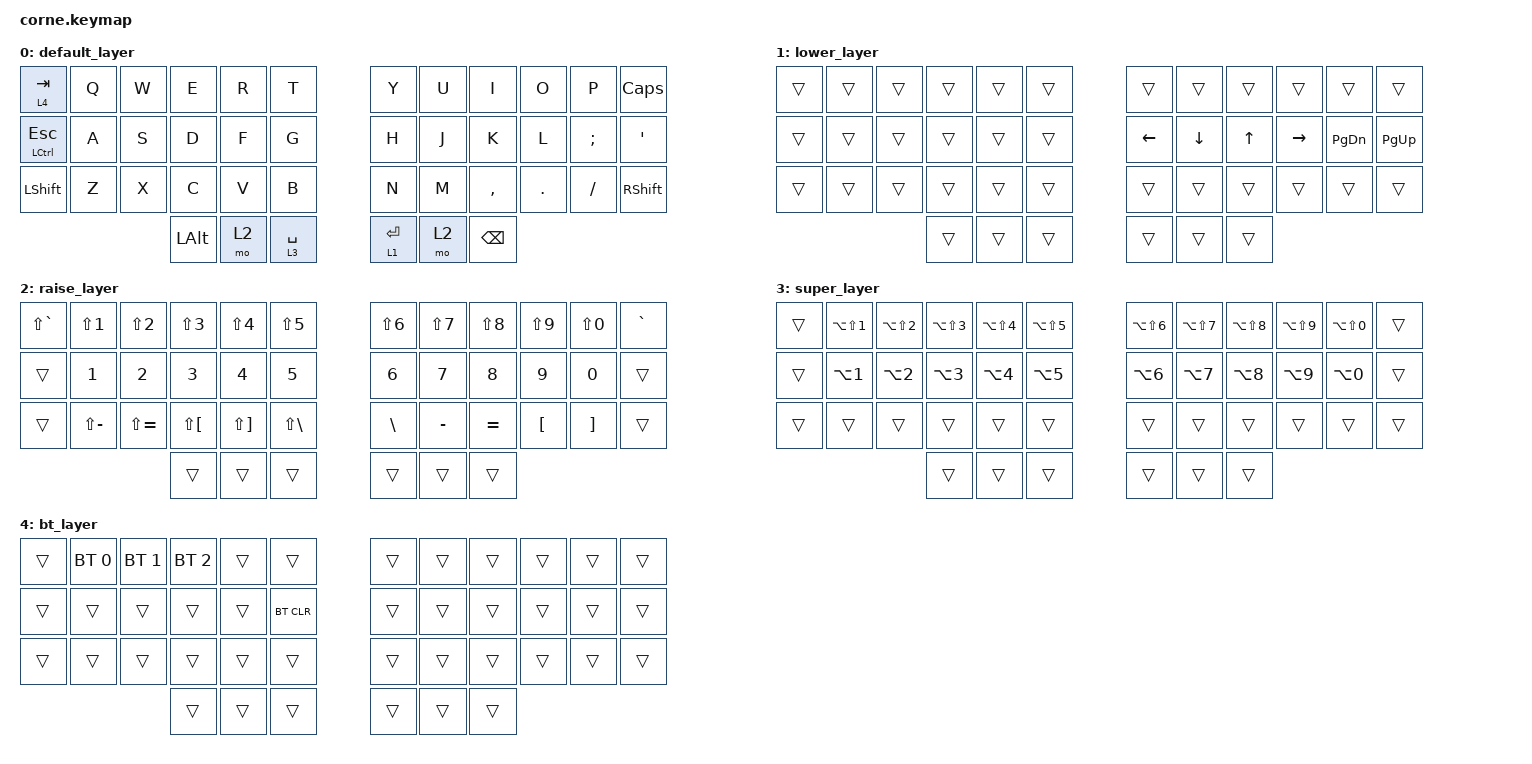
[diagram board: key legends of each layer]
/*
 * Copyright (c) 2020 The ZMK Contributors
 *
 * SPDX-License-Identifier: MIT
 */

#include <behaviors.dtsi>
#include <dt-bindings/zmk/keys.h>
#include <dt-bindings/zmk/bt.h>

/ {
        keymap {
                compatible = "zmk,keymap";

                default_layer {
// -----------------------------------------------------------------------------------------
// |  TAB |  Q  |  W  |  E  |  R  |  T  |   |  Y  |  U   |  I  |  O  |  P  | BKSP |
// | CTRL |  A  |  S  |  D  |  F  |  G  |   |  H  |  J   |  K  |  L  |  ;  |  '   |
// | SHFT |  Z  |  X  |  C  |  V  |  B  |   |  N  |  M   |  ,  |  .  |  /  | ESC  |
//                    | GUI | LWR | SPC |   | ENT | RSE  | ALT |
                        bindings = <
   &lt 4 TAB   &kp Q &kp W &kp E &kp R &kp T   &kp Y &kp U  &kp I     &kp O   &kp P    &kp CAPS
   &mt LCTRL ESC &kp A &kp S &kp D &kp F &kp G   &kp H &kp J  &kp K     &kp L   &kp SEMI &kp SQT
   &kp LSHFT &kp Z &kp X &kp C &kp V &kp B   &kp N &kp M  &kp COMMA &kp DOT &kp FSLH &kp RSHIFT
                  &kp LALT &mo 2 &lt 3 SPACE   &lt 1 RET &mo 2 &kp BSPC
                        >;
                };

                lower_layer {
// -----------------------------------------------------------------------------------------
// |  TAB |  1  |  2  |  3  |  4  |  5  |   |  6  |  7  |  8  |  9  |  0  | BKSP |
// | BTCLR| BT1 | BT2 | BT3 | BT4 | BT5 |   | LFT | DWN |  UP | RGT |     |      |
// | SHFT |     |     |     |     |     |   |     |     |     |     |     |      |
//                    | GUI |     | SPC |   | ENT |     | ALT |
                        bindings = <
   &trans &trans &trans       &trans &trans &trans         &trans &trans &trans &trans &trans &trans
   &trans &trans &trans &trans &trans &trans   &kp LEFT &kp DOWN &kp UP &kp RIGHT &kp PAGE_DOWN &kp PAGE_UP
   &trans &trans       &trans       &trans       &trans       &trans         &trans   &trans   &trans &trans    &trans &trans
                          	        &trans &trans       &trans &trans &trans   &trans
                        >;
                };

                raise_layer {
// -----------------------------------------------------------------------------------------
// |  TAB |  !  |  @  |  #  |  $  |  %  |   |  ^  |  &  |  *  |  (  |  )  | BKSP |
// | CTRL |     |     |     |     |     |   |  -  |  =  |  [  |  ]  |  \  |  `   |
// | SHFT |     |     |     |     |     |   |  _  |  +  |  {  |  }  | "|" |  ~   |
//                    | GUI |     | SPC |   | ENT |     | ALT |
                        bindings = <
   &kp LS(GRAVE) &kp LS(N1) &kp LS(N2) &kp LS(N3) &kp LS(N4) &kp LS(N5) &kp LS(N6) &kp LS(N7) &kp LS(N8) &kp LS(N9) &kp LS(N0) &kp GRAVE
   &trans &kp N1 &kp N2 &kp N3 &kp N4 &kp N5 &kp N6 &kp N7 &kp N8        &kp N9 &kp N0 &trans
   &trans &kp LS(MINUS) &kp LS(EQUAL)  &kp LS(LBKT)   &kp LS(RBKT)  &kp LS(BSLH) &kp BSLH &kp MINUS &kp EQUAL &kp LBKT &kp RBKT &trans
                    	     &trans &trans   &trans &trans &trans    &trans
                        >;
                };
                super_layer {
// -----------------------------------------------------------------------------------------
// |  TAB |  !  |  @  |  #  |  $  |  %  |   |  ^  |  &  |  *  |  (  |  )  | BKSP |
// | CTRL |     |     |     |     |     |   |  -  |  =  |  [  |  ]  |  \  |  `   |
// | SHFT |     |     |     |     |     |   |  _  |  +  |  {  |  }  | "|" |  ~   |
//                    | GUI |     | SPC |   | ENT |     | ALT |
                        bindings = <
   &trans &kp LA(LS(N1)) &kp LA(LS(N2)) &kp LA(LS(N3)) &kp LA(LS(N4)) &kp LA(LS(N5)) &kp LA(LS(N6)) &kp LA(LS(N7)) &kp LA(LS(N8)) &kp LA(LS(N9)) &kp LA(LS(N0)) &trans
   &trans &kp LA(N1) &kp LA(N2) &kp LA(N3) &kp LA(N4) &kp LA(N5) &kp LA(N6) &kp LA(N7) &kp LA(N8)        &kp LA(N9) &kp LA(N0) &trans
   &trans &trans &trans &trans &trans &trans &trans &trans &trans &trans &trans &trans
                    	     &trans &trans   &trans &trans &trans    &trans
                        >;
                };
                 bt_layer {
// -----------------------------------------------------------------------------------------
// |  TAB |  1  |  2  |  3  |  4  |  5  |   |  6  |  7  |  8  |  9  |  0  | BKSP |
// | BTCLR| BT1 | BT2 | BT3 | BT4 | BT5 |   | LFT | DWN |  UP | RGT |     |      |
// | SHFT |     |     |     |     |     |   |     |     |     |     |     |      |
//                    | GUI |     | SPC |   | ENT |     | ALT |
                        bindings = <
   &trans &bt BT_SEL 0 &bt BT_SEL 1 &bt BT_SEL 2 &trans &trans         &trans &trans &trans &trans &trans &trans
   &trans &trans  &trans &trans &trans &bt BT_CLR &trans &trans &trans &trans &trans &trans
   &trans &trans       &trans       &trans       &trans       &trans         &trans   &trans   &trans &trans    &trans &trans
                          	        &trans &trans       &trans &trans &trans   &trans
                        >;
                };



        };
};
